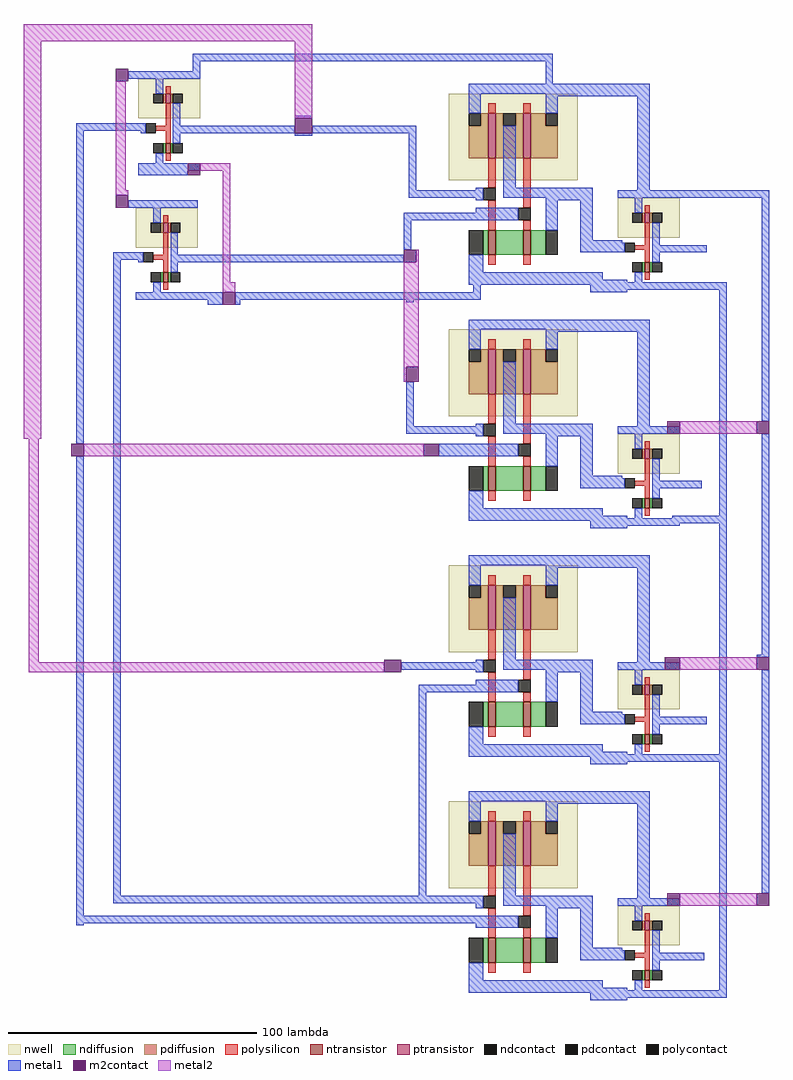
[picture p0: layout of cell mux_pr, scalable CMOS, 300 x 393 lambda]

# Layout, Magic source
magic
tech scmos
<< metal1 >>
rect -97 383 48 386
rect -123 376 -116 379
rect -97 376 -94 383
rect 45 372 48 383
rect -56 360 -49 361
rect -144 355 -116 358
rect -144 229 -141 355
rect -97 354 -56 357
rect -49 354 -7 357
rect -56 353 -49 354
rect -119 337 -99 339
rect -10 331 -7 354
rect -10 328 19 331
rect 96 328 135 331
rect -123 324 -117 327
rect -12 319 20 322
rect -12 307 -9 319
rect -144 39 -141 224
rect -129 303 -117 306
rect -129 47 -126 303
rect -98 302 -12 305
rect 96 306 110 309
rect 16 290 19 298
rect 96 291 118 294
rect -99 287 -85 290
rect -91 285 -85 287
rect -80 287 19 290
rect -80 285 -78 287
rect -11 286 -8 287
rect -11 236 -8 254
rect -11 233 19 236
rect 2 224 22 229
rect 96 211 108 214
rect 115 200 118 291
rect 132 238 135 328
rect 96 197 118 200
rect -13 138 20 141
rect -6 129 20 132
rect -6 47 -3 129
rect 96 116 110 119
rect 115 104 118 197
rect 132 144 135 233
rect 130 143 135 144
rect 96 101 118 104
rect -129 44 20 47
rect -144 36 19 39
rect -144 35 -141 36
rect 95 21 109 24
rect 115 9 118 101
rect 132 48 135 138
rect 91 6 118 9
<< m2contact >>
rect -128 375 -123 380
rect -56 354 -49 360
rect -99 337 -94 342
rect -128 324 -123 329
rect -146 224 -141 229
rect -12 302 -7 307
rect -85 285 -80 290
rect -11 254 -6 260
rect 94 233 99 238
rect -4 224 2 229
rect 130 233 135 238
rect -20 137 -13 142
rect 93 138 99 143
rect 130 138 135 143
rect 94 43 99 48
rect 130 43 135 48
<< metal2 >>
rect -165 391 -49 398
rect -165 231 -158 391
rect -128 331 -124 375
rect -56 360 -49 391
rect -94 339 -82 342
rect -128 329 -123 331
rect -85 294 -82 339
rect -7 302 -6 307
rect -85 290 -80 294
rect -12 260 -6 302
rect -12 254 -11 260
rect 99 233 130 238
rect -163 141 -159 231
rect -141 224 -4 229
rect -163 137 -20 141
rect 99 138 130 143
rect 99 43 130 48
use and_2_pr  and_2_pr_0
array 0 0 110 0 3 95
transform 1 0 63 0 1 6
box -57 -1 36 83
use inverter_unlab_pr  inverter_unlab_pr_0
transform 1 0 -111 0 1 307
box -9 -20 16 20
use inverter_unlab_pr  inverter_unlab_pr_1
transform 1 0 -110 0 1 359
box -9 -20 16 20
<< end >>

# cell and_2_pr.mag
magic
tech scmos
<< metal1 >>
rect -18 78 24 83
rect -18 36 1 41
rect 19 38 24 78
rect -4 20 1 36
rect -4 15 13 20
rect -18 4 5 7
rect -18 2 15 4
rect 0 -1 15 2
use nand_unlab_pr  nand_unlab_pr_0
transform 1 0 -33 0 1 53
box -24 -51 28 30
use inverter_unlab_pr  inverter_unlab_pr_0
transform 1 0 20 0 1 20
box -9 -20 16 20
<< end >>

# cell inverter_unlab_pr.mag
magic
tech scmos
<< nwell >>
rect -9 1 16 17
<< ntransistor >>
rect 2 -13 4 -9
<< ptransistor >>
rect 2 7 4 11
<< ndiffusion >>
rect 1 -13 2 -9
rect 4 -13 5 -9
<< pdiffusion >>
rect 1 7 2 11
rect 4 7 5 11
<< ndcontact >>
rect -3 -13 1 -9
rect 5 -13 9 -9
<< pdcontact >>
rect -3 7 1 11
rect 5 7 9 11
<< polysilicon >>
rect 2 11 4 14
rect 2 -2 4 7
rect -2 -4 4 -2
rect 2 -9 4 -4
rect 2 -16 4 -13
<< polycontact >>
rect -6 -5 -2 -1
<< metal1 >>
rect -9 17 16 20
rect -2 11 1 17
rect -8 -5 -6 -1
rect 5 -2 8 7
rect 5 -5 16 -2
rect 5 -9 8 -5
rect -2 -17 1 -13
rect -9 -20 16 -17
<< end >>

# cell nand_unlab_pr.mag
magic
tech scmos
<< nwell >>
rect -24 -9 28 26
<< ntransistor >>
rect -8 -39 -5 -29
rect 6 -39 9 -29
<< ptransistor >>
rect -8 0 -5 18
rect 6 0 9 18
<< ndiffusion >>
rect -10 -39 -8 -29
rect -5 -39 6 -29
rect 9 -39 15 -29
<< pdiffusion >>
rect -11 13 -8 18
rect -16 0 -8 13
rect -5 13 -2 18
rect 3 13 6 18
rect -5 0 6 13
rect 9 13 15 18
rect 9 0 20 13
<< ndcontact >>
rect -16 -39 -10 -29
rect 15 -39 20 -29
<< pdcontact >>
rect -16 13 -11 18
rect -2 13 3 18
rect 15 13 20 18
<< polysilicon >>
rect -8 18 -5 22
rect 6 18 9 22
rect -8 -12 -5 0
rect -8 -29 -5 -17
rect 6 -20 9 0
rect 6 -29 9 -25
rect -8 -43 -5 -39
rect 6 -43 9 -39
<< polycontact >>
rect -10 -17 -5 -12
rect 4 -25 9 -20
<< metal1 >>
rect -16 26 20 30
rect -16 18 -11 26
rect 15 18 20 26
rect -2 -12 3 13
rect -13 -17 -10 -12
rect -2 -16 20 -12
rect -13 -25 4 -20
rect 15 -29 20 -16
rect -16 -46 -10 -39
rect -16 -51 20 -46
<< end >>
